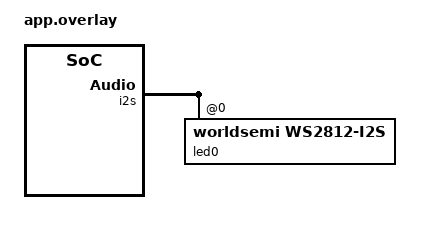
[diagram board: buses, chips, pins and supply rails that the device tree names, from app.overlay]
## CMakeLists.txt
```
cmake_minimum_required(VERSION 3.20.0)

list(APPEND BOARD_ROOT ${CMAKE_CURRENT_SOURCE_DIR})
find_package(Zephyr REQUIRED)
project(my_zephyr_app)

target_sources(app PRIVATE src/main.cpp)
add_subdirectory(drivers/our_driver)
```

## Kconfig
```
config APP_HEARTBEAT_PERIOD_MS
    int "LED hearbeat period"
    default 500
    range 100 2000

menuconfig LED_SUBSYSTEM
    bool "LED Subsystem"
    default y

if LED_SUBSYSTEM

choice
    prompt "LED blink sleep"
    default BLINK_SLEEP_1000MS

config BLINK_SLEEP_250MS
    bool "250 ms"
config BLINK_SLEEP_500MS
    bool "500 ms"
config BLINK_SLEEP_1000MS
    bool "1000 ms"

endchoice

menuconfig LED_ADVANCED
    bool "Advanced LED settings"
    default y

if LED_ADVANCED

config LED_BRIGHTNESS
    int "LED brightness level (0-100)"
    default 100
    range 0 100

config LED_FADE
    int "LED fade duration (ms)"
    default 500
    range 0 5000

menu "Expert settings"
    visible if LED_ADVANCED

config LED_DEBUG
    bool "Enables LED debug"
    default n

config LED_CUSTOM_PATTERN
    bool "Enables LED custom pattern"
    default n

endmenu

endif

config BLINK_SLEEP_TIME_MS
    int
    default 250 if BLINK_SLEEP_250MS 
    default 500 if BLINK_SLEEP_500MS
    default 1000 if BLINK_SLEEP_1000MS
    help
        defines blink sleep period

endif

source "Kconfig.zephyr"
rsource "drivers/our_driver/Kconfig"
```

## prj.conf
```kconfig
CONFIG_GPIO=y
CONFIG_LOG=y
CONFIG_I2S=y
CONFIG_LED_STRIP=y
CONFIG_WS2812_STRIP_I2S=y
CONFIG_DMA=y
CONFIG_OUR_DRIVER=y
CONFIG_SENSOR=y
CONFIG_SHELL=y
```

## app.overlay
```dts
#include <zephyr/dt-bindings/led/led.h>
#include <zephyr/dt-bindings/pinctrl/esp32-pinctrl.h>

/ {
	aliases {
		app-led = &led0;
	};
	our_driver: our_driver {
		compatible = "our,driver";
		status = "okay";
		led-strip = <&led0>;
	};
};

&pinctrl {
	i2s_led_strip_default: i2s_led_strip_default {
		group1 {
			pinmux = <I2S_O_SD_GPIO8>;
		};
	};
};

&i2s {
	status = "okay";
	pinctrl-0 = <&i2s_led_strip_default>;
	pinctrl-names = "default";

	dmas = <&dma 3>;
	dma-names = "tx";

	led0: ws2812@0 {
		compatible = "worldsemi,ws2812-i2s";
		reg = <0>;
		chain-length = <1>;
		color-mapping = <LED_COLOR_ID_GREEN
				 LED_COLOR_ID_RED
				 LED_COLOR_ID_BLUE>;
		reset-delay = <500>;
		status = "okay";
	};
};

&dma {
	status = "okay";
};
```

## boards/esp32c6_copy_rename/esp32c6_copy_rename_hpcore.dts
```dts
/*
 * Copyright (c) 2023 Espressif Systems (Shanghai) Co., Ltd.
 *
 * SPDX-License-Identifier: Apache-2.0
 */

/dts-v1/;

#include <espressif/esp32c6/esp32c6_wroom_n8.dtsi>
#include "esp32c6_copy_rename_hpcore-pinctrl.dtsi"
#include <zephyr/dt-bindings/input/input-event-codes.h>
#include <espressif/partitions_0x0_default.dtsi>

/ {
	model = "esp32c6 Copy Rename HP Core";
	compatible = "espressif,esp32c6";

	chosen {
		zephyr,sram = &sramhp;
		zephyr,console = &uart0;
		zephyr,shell-uart = &uart0;
		zephyr,flash = &flash0;
		zephyr,code-partition = &slot0_partition;
		zephyr,ieee802154 = &ieee802154;
	};

	aliases {
		sw0 = &user_button1;
		watchdog0 = &wdt0;
	};

	gpio_keys {
		compatible = "gpio-keys";
		user_button1: button_1 {
			label = "User SW1";
			gpios = <&gpio0 9 (GPIO_PULL_UP | GPIO_ACTIVE_LOW)>;
			zephyr,code = <INPUT_KEY_0>;
		};
	};
};

&uart0 {
	status = "okay";
	current-speed = <115200>;
	pinctrl-0 = <&uart0_default>;
	pinctrl-names = "default";
};

&trng0 {
	status = "okay";
};

&i2c0 {
	status = "okay";
	clock-frequency = <I2C_BITRATE_FAST>;
	pinctrl-0 = <&i2c0_default>;
	pinctrl-names = "default";
};

&spi2 {
	#address-cells = <1>;
	#size-cells = <0>;
	status = "okay";
	pinctrl-0 = <&spim2_default>;
	pinctrl-names = "default";
};

&gpio0 {
	status = "okay";
};

&wdt0 {
	status = "okay";
};

&wifi {
	status = "okay";
};

&ieee802154 {
	status = "okay";
};

&esp32_bt_hci {
	status = "okay";
};
```

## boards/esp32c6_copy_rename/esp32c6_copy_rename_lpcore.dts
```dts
/*
 * Copyright (c) 2025 Espressif Systems (Shanghai) Co., Ltd.
 *
 * SPDX-License-Identifier: Apache-2.0
 */
/dts-v1/;

#include <espressif/esp32c6/esp32c6_lpcore_wroom_n4.dtsi>
#include <espressif/partitions_0x0_default.dtsi>

/ {
	model = "Espressif ESP32C6 Copy Rename LPCORE";
	compatible = "espressif,esp32c6";

	chosen {
		zephyr,sram = &sramlp;
		zephyr,code-partition = &slot0_lpcore_partition;
		zephyr,console = &lp_uart;
		zephyr,shell-uart = &lp_uart;
	};
};

&lp_uart {
	status = "okay";
	current-speed = <115200>;
};
```

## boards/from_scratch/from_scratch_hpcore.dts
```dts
/*
 * Copyright (c) 2023 Espressif Systems (Shanghai) Co., Ltd.
 *
 * SPDX-License-Identifier: Apache-2.0
 */

/dts-v1/;

#include <espressif/esp32c6/esp32c6_wroom_n8.dtsi>
#include "from_scratch_hpcore-pinctrl.dtsi"
#include <espressif/partitions_0x0_default.dtsi>

/ {
	model = "from_scratch";
	compatible = "olek,from_scratch";

	chosen {
		zephyr,sram = &sramhp;
		zephyr,console = &uart0;
		zephyr,shell-uart = &uart0;
		zephyr,flash = &flash0;
		zephyr,code-partition = &slot0_partition;
	};

};
```

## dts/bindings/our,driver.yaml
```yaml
description: Our Simple driver
compatible: "our,driver"
include: sensor-device.yaml

properties:
  led-strip:
    type: phandle
    required: true
```

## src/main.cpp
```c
#include <zephyr/kernel.h>
#include <zephyr/device.h>
#include <zephyr/drivers/sensor.h>
#include <our_driver.h>

int main(void)
{
    const struct device *sensor_dev = DEVICE_DT_GET(DT_NODELABEL(our_driver));

    if (!device_is_ready(sensor_dev)) {
        return -ENODEV;
    }

    struct sensor_value dummy_val;

    uint8_t current_brightness = 32;

    while (1) {
        our_driver_set_brightness(sensor_dev, current_brightness);

        sensor_sample_fetch(sensor_dev);
        k_msleep(CONFIG_APP_HEARTBEAT_PERIOD_MS);

        sensor_channel_get(sensor_dev, SENSOR_CHAN_ALL, &dummy_val);
        k_msleep(CONFIG_APP_HEARTBEAT_PERIOD_MS);

        current_brightness += 32;
        if (current_brightness > 160) {
            current_brightness = 32;
        }
    }
}
```
